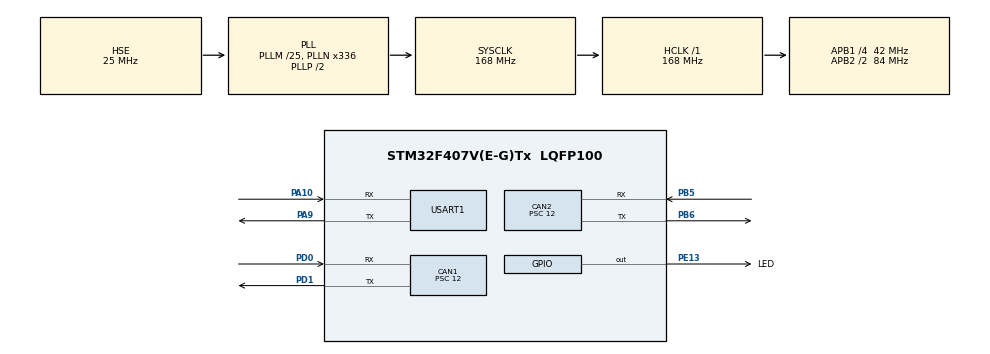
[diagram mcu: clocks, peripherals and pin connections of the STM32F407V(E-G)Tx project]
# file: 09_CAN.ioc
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CAN1.BS1=CAN_BS1_4TQ
CAN1.BS2=CAN_BS2_2TQ
CAN1.CalculateBaudRate=500000
CAN1.CalculateTimeBit=2000
CAN1.CalculateTimeQuantum=285.7142857142857
CAN1.NART=DISABLE
CAN1.Prescaler=12
CAN1.SJW=CAN_SJW_1TQ
CAN2.BS1=CAN_BS1_4TQ
CAN2.BS2=CAN_BS2_2TQ
CAN2.CalculateBaudRate=500000
CAN2.CalculateTimeBit=2000
CAN2.CalculateTimeQuantum=285.7142857142857
CAN2.NART=DISABLE
CAN2.Prescaler=12
Mcu.Family=STM32F4
Mcu.Name=STM32F407V(E-G)Tx
Mcu.Package=LQFP100
NVIC.CAN1_RX0_IRQn=true\:0\:0\:false\:false\:true\:true\:true\:true
NVIC.CAN2_RX0_IRQn=true\:0\:0\:false\:false\:true\:true\:true\:true
NVIC.PriorityGroup=NVIC_PRIORITYGROUP_4
PA10.GPIO_Speed=GPIO_SPEED_FREQ_HIGH
PA10.Mode=Asynchronous
PA10.Signal=USART1_RX
PA13.Mode=Serial_Wire
PA13.Signal=SYS_JTMS-SWDIO
PA14.Mode=Serial_Wire
PA14.Signal=SYS_JTCK-SWCLK
PA9.GPIO_Speed=GPIO_SPEED_FREQ_HIGH
PA9.Mode=Asynchronous
PA9.Signal=USART1_TX
PB5.GPIO_Speed=GPIO_SPEED_FREQ_HIGH
PB5.Mode=CAN_Activate
PB5.Signal=CAN2_RX
PB6.GPIO_Speed=GPIO_SPEED_FREQ_HIGH
PB6.Mode=CAN_Activate
PB6.Signal=CAN2_TX
PD0.GPIO_Speed=GPIO_SPEED_FREQ_HIGH
PD0.Mode=CAN_Activate
PD0.Signal=CAN1_RX
PD1.GPIO_Speed=GPIO_SPEED_FREQ_HIGH
PD1.Mode=CAN_Activate
PD1.Signal=CAN1_TX
PE13.GPIO_Label=LED
PE13.Signal=GPIO_Output
PH0-OSC_IN.Mode=HSE-External-Oscillator
PH0-OSC_IN.Signal=RCC_OSC_IN
PH1-OSC_OUT.Mode=HSE-External-Oscillator
PH1-OSC_OUT.Signal=RCC_OSC_OUT
ProjectManager.HeapSize=0x200
ProjectManager.StackSize=0x400
ProjectManager.TargetToolchain=STM32CubeIDE
RCC.48MHZClocksFreq_Value=84000000
RCC.AHBFreq_Value=168000000
RCC.APB1CLKDivider=RCC_HCLK_DIV4
RCC.APB1Freq_Value=42000000
RCC.APB1TimFreq_Value=84000000
RCC.APB2CLKDivider=RCC_HCLK_DIV2
RCC.APB2Freq_Value=84000000
RCC.APB2TimFreq_Value=168000000
RCC.CortexFreq_Value=168000000
RCC.HCLKFreq_Value=168000000
RCC.HSE_VALUE=25000000
RCC.HSI_VALUE=16000000
RCC.LSE_VALUE=32768
RCC.PLLM=25
RCC.PLLN=336
RCC.PLLSourceVirtual=RCC_PLLSOURCE_HSE
RCC.SYSCLKFreq_VALUE=168000000
RCC.SYSCLKSource=RCC_SYSCLKSOURCE_PLLCLK
RCC.VCOOutputFreq_Value=336000000
USART1.VirtualMode=VM_ASYNC
board=custom

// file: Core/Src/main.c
/* USER CODE BEGIN Header */
/**
  ******************************************************************************
  * @file           : main.c
  * @brief          : Main program body
  ******************************************************************************
  * @attention
  *
  * Copyright (c) 2025 STMicroelectronics.
  * All rights reserved.
  *
  * This software is licensed under terms that can be found in the LICENSE file
  * in the root directory of this software component.
  * If no LICENSE file comes with this software, it is provided AS-IS.
  *
  ******************************************************************************
  */
/* USER CODE END Header */
#include "main.h"
#include "can.h"
#include "usart.h"
#include "gpio.h"

/* USER CODE BEGIN Includes */
#include <stdio.h>
#include <string.h>
/* USER CODE END Includes */

/* USER CODE BEGIN PD */
#define CAN1_ID 0x111   // CAN1 transfer ID
#define CAN2_ID 0x222   // CAN2 transfer ID
/* USER CODE END PD */

/* USER CODE BEGIN PV */
CAN_TxHeaderTypeDef TxHeader;
CAN_RxHeaderTypeDef RxHeader;
uint8_t TxData[8];
uint8_t RxData[8];
uint32_t TxMailbox;

// Test data
uint8_t can1_tx_data[8] = {0x11, 0x22, 0x33, 0x44, 0x55, 0x66, 0x77, 0x88};
uint8_t can2_tx_data[8] = {0xAA, 0xBB, 0xCC, 0xDD, 0xEE, 0xFF, 0x99, 0x00};
/* USER CODE END PV */

void SystemClock_Config(void);
/* USER CODE BEGIN PFP */
void CAN_Config(void);
void CAN_Send(CAN_HandleTypeDef *hcan, uint32_t id, uint8_t *data, uint8_t length);
void HAL_CAN_RxFifo0MsgPendingCallback(CAN_HandleTypeDef *hcan);
int _write(int file, char *ptr, int len);
/* USER CODE END PFP */

/* USER CODE BEGIN 0 */
int _write(int file, char *ptr, int len)
{
    HAL_UART_Transmit(&huart1, (uint8_t*)ptr, len, HAL_MAX_DELAY);
    return len;
}

/* CAN Configuration */
void CAN_Config()
{
    CAN_FilterTypeDef canFilter1;

    // Filter settings (common settings for CAN1 & CAN2)
    canFilter1.FilterBank = 0;
    canFilter1.FilterMode = CAN_FILTERMODE_IDMASK;
    canFilter1.FilterScale = CAN_FILTERSCALE_32BIT;
    canFilter1.FilterIdHigh = 0x0000;
    canFilter1.FilterIdLow = 0x0000;
    canFilter1.FilterMaskIdHigh = 0x0000;
    canFilter1.FilterMaskIdLow = 0x0000;
    canFilter1.FilterFIFOAssignment = CAN_RX_FIFO0;
    canFilter1.FilterActivation = ENABLE;

    if (HAL_CAN_ConfigFilter(&hcan1, &canFilter1) != HAL_OK)
    {
      printf("CAN1 filter setup failed!\n");
    }

    CAN_FilterTypeDef canFilter2;

    // Filter settings (common settings for CAN1 & CAN2)
    canFilter2.FilterBank = 1;
    canFilter2.FilterMode = CAN_FILTERMODE_IDMASK;
    canFilter2.FilterScale = CAN_FILTERSCALE_32BIT;
    canFilter2.FilterIdHigh = 0x0000;
    canFilter2.FilterIdLow = 0x0000;
    canFilter2.FilterMaskIdHigh = 0x0000;
    canFilter2.FilterMaskIdLow = 0x0000;
    canFilter2.FilterFIFOAssignment = CAN_RX_FIFO0;
    canFilter2.FilterActivation = ENABLE;

    if (HAL_CAN_ConfigFilter(&hcan2, &canFilter2) != HAL_OK)
    {
      printf("CAN2 filter setup failed!\n");
    }

    // Start CAN1 & CAN2
    HAL_CAN_Start(&hcan1);
    HAL_CAN_Start(&hcan2);

    // Enable receive interrupt
    if (HAL_CAN_ActivateNotification(&hcan1, CAN_IT_RX_FIFO0_MSG_PENDING) != HAL_OK)
    {
        printf("CAN1 Interrupt enable failed!\n");
    }

    if (HAL_CAN_ActivateNotification(&hcan2, CAN_IT_RX_FIFO0_MSG_PENDING) != HAL_OK)
    {
        printf("CAN2 Interrupt enable failed!\n");
    }
}

/* Sending CAN messages */
void CAN_Send(CAN_HandleTypeDef *hcan, uint32_t id, uint8_t *data, uint8_t length)
{
    TxHeader.StdId = id;
    TxHeader.ExtId = 0;
    TxHeader.RTR = CAN_RTR_DATA;
    TxHeader.IDE = CAN_ID_STD;
    TxHeader.DLC = length;
    TxHeader.TransmitGlobalTime = DISABLE;

    if (HAL_CAN_AddTxMessage(hcan, &TxHeader, data, &TxMailbox) != HAL_OK)
    {
        printf("CAN Send Error!\n");
    }
}

/* CAN receive interrupt callback function */
void HAL_CAN_RxFifo0MsgPendingCallback(CAN_HandleTypeDef *hcan)
{
    if (HAL_CAN_GetRxMessage(hcan, CAN_RX_FIFO0, &RxHeader, RxData) == HAL_OK)
    {
        if (hcan == &hcan1)
        {
            printf("CAN1 Receive: ID=0x%lX, Data: ", RxHeader.StdId);
            for (int i = 0; i < RxHeader.DLC; i++)
            {
                printf("%02X ", RxData[i]);
            }
            printf("\n[O] CAN1: Receive normal data!\n\n");
        }
        else if (hcan == &hcan2)
        {
            printf("CAN2 Receive: ID=0x%lX, Data: ", RxHeader.StdId);
            for (int i = 0; i < RxHeader.DLC; i++)
            {
                printf("%02X ", RxData[i]);
            }
            printf("\n[O] CAN2: Receive normal data!\n\n");
        }
    }
    else
    {
        printf("[X] CAN RX Failed to read message!\n");
    }
}

/* USER CODE END 0 */

int main(void)
{

  /* MCU Configuration--------------------------------------------------------*/

  /* Reset of all peripherals, Initializes the Flash interface and the Systick. */
  HAL_Init();

  /* Configure the system clock */
  SystemClock_Config();

  /* Initialize all configured peripherals */
  MX_GPIO_Init();
  MX_CAN1_Init();
  MX_CAN2_Init();
  MX_USART1_UART_Init();

  /* USER CODE BEGIN 2 */
  printf("STM32 CAN1 <-> CAN2 Test\n");

  CAN_Config();

  /* USER CODE END 2 */

  /* Infinite loop */
  while (1)
  {

    /* USER CODE BEGIN 3 */
    printf("Send CAN1 -> CAN2\n");
    CAN_Send(&hcan1, CAN1_ID, can1_tx_data, 8);
    HAL_Delay(2000);

    printf("Send CAN2 -> CAN1\n");
    CAN_Send(&hcan2, CAN2_ID, can2_tx_data, 8);
    HAL_Delay(2000);
  }
  /* USER CODE END 3 */
}

void SystemClock_Config(void)
{
  RCC_OscInitTypeDef RCC_OscInitStruct = {0};
  RCC_ClkInitTypeDef RCC_ClkInitStruct = {0};

  /** Configure the main internal regulator output voltage
  */
  __HAL_RCC_PWR_CLK_ENABLE();
  __HAL_PWR_VOLTAGESCALING_CONFIG(PWR_REGULATOR_VOLTAGE_SCALE1);

  /** Initializes the RCC Oscillators according to the specified parameters
  * in the RCC_OscInitTypeDef structure.
  */
  RCC_OscInitStruct.OscillatorType = RCC_OSCILLATORTYPE_HSE;
  RCC_OscInitStruct.HSEState = RCC_HSE_ON;
  RCC_OscInitStruct.PLL.PLLState = RCC_PLL_ON;
  RCC_OscInitStruct.PLL.PLLSource = RCC_PLLSOURCE_HSE;
  RCC_OscInitStruct.PLL.PLLM = 25;
  RCC_OscInitStruct.PLL.PLLN = 336;
  RCC_OscInitStruct.PLL.PLLP = RCC_PLLP_DIV2;
  RCC_OscInitStruct.PLL.PLLQ = 4;
  if (HAL_RCC_OscConfig(&RCC_OscInitStruct) != HAL_OK)
  {
    Error_Handler();
  }

  /** Initializes the CPU, AHB and APB buses clocks
  */
  RCC_ClkInitStruct.ClockType = RCC_CLOCKTYPE_HCLK|RCC_CLOCKTYPE_SYSCLK
                              |RCC_CLOCKTYPE_PCLK1|RCC_CLOCKTYPE_PCLK2;
  RCC_ClkInitStruct.SYSCLKSource = RCC_SYSCLKSOURCE_PLLCLK;
  RCC_ClkInitStruct.AHBCLKDivider = RCC_SYSCLK_DIV1;
  RCC_ClkInitStruct.APB1CLKDivider = RCC_HCLK_DIV4;
  RCC_ClkInitStruct.APB2CLKDivider = RCC_HCLK_DIV2;

  if (HAL_RCC_ClockConfig(&RCC_ClkInitStruct, FLASH_LATENCY_5) != HAL_OK)
  {
    Error_Handler();
  }
}

void Error_Handler(void)
{
  __disable_irq();
  while (1)
  {
  }
}
